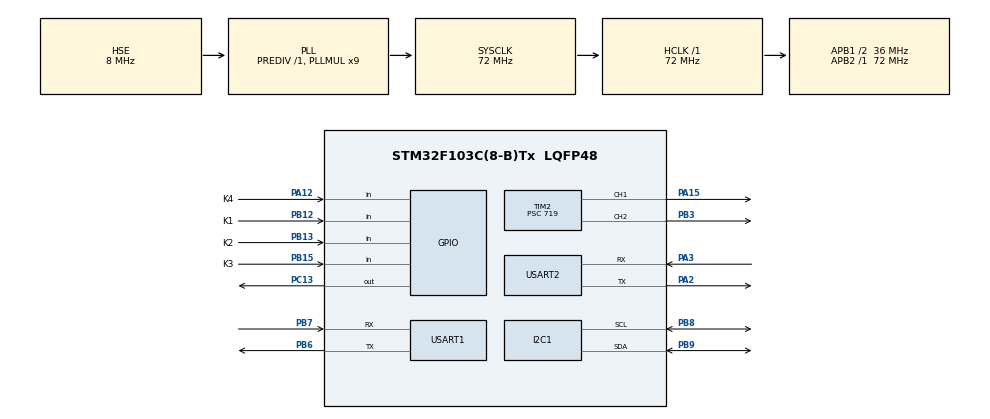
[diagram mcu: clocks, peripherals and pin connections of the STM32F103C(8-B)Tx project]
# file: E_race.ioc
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Dma.Request0=USART2_RX
Dma.Request1=USART2_TX
Dma.USART2_RX.0.Direction=DMA_PERIPH_TO_MEMORY
Dma.USART2_RX.0.Instance=DMA1_Channel6
Dma.USART2_RX.0.MemDataAlignment=DMA_MDATAALIGN_BYTE
Dma.USART2_RX.0.MemInc=DMA_MINC_ENABLE
Dma.USART2_RX.0.Mode=DMA_NORMAL
Dma.USART2_RX.0.PeriphDataAlignment=DMA_PDATAALIGN_BYTE
Dma.USART2_RX.0.PeriphInc=DMA_PINC_DISABLE
Dma.USART2_RX.0.Priority=DMA_PRIORITY_LOW
Dma.USART2_TX.1.Direction=DMA_MEMORY_TO_PERIPH
Dma.USART2_TX.1.Instance=DMA1_Channel7
Dma.USART2_TX.1.MemDataAlignment=DMA_MDATAALIGN_BYTE
Dma.USART2_TX.1.MemInc=DMA_MINC_ENABLE
Dma.USART2_TX.1.Mode=DMA_NORMAL
Dma.USART2_TX.1.PeriphDataAlignment=DMA_PDATAALIGN_BYTE
Dma.USART2_TX.1.PeriphInc=DMA_PINC_DISABLE
Dma.USART2_TX.1.Priority=DMA_PRIORITY_LOW
Mcu.Family=STM32F1
Mcu.Name=STM32F103C(8-B)Tx
Mcu.Package=LQFP48
NVIC.DMA1_Channel6_IRQn=true\:0\:0\:false\:false\:true\:false\:true\:true
NVIC.DMA1_Channel7_IRQn=true\:0\:0\:false\:false\:true\:false\:true\:true
NVIC.PriorityGroup=NVIC_PRIORITYGROUP_4
NVIC.TIM3_IRQn=true\:1\:0\:true\:false\:true\:true\:true\:true
NVIC.TIM4_IRQn=true\:0\:0\:true\:false\:true\:true\:true\:true
NVIC.USART1_IRQn=true\:0\:0\:false\:false\:true\:true\:true\:true
NVIC.USART2_IRQn=true\:0\:0\:false\:false\:true\:true\:true\:true
PA12.GPIO_Label=K4
PA12.GPIO_PuPd=GPIO_PULLUP
PA12.Signal=GPIO_Input
PA13.Mode=Serial_Wire
PA13.Signal=SYS_JTMS-SWDIO
PA14.Mode=Serial_Wire
PA14.Signal=SYS_JTCK-SWCLK
PA15.Signal=S_TIM2_CH1_ETR
PA2.Mode=Asynchronous
PA2.Signal=USART2_TX
PA3.Mode=Asynchronous
PA3.Signal=USART2_RX
PB12.GPIO_Label=K1
PB12.GPIO_PuPd=GPIO_PULLUP
PB12.Signal=GPIO_Input
PB13.GPIO_Label=K2
PB13.GPIO_PuPd=GPIO_PULLUP
PB13.Signal=GPIO_Input
PB15.GPIO_Label=K3
PB15.GPIO_PuPd=GPIO_PULLUP
PB15.Signal=GPIO_Input
PB3.Signal=S_TIM2_CH2
PB6.Mode=Asynchronous
PB6.Signal=USART1_TX
PB7.Mode=Asynchronous
PB7.Signal=USART1_RX
PB8.Mode=I2C
PB8.Signal=I2C1_SCL
PB9.Mode=I2C
PB9.Signal=I2C1_SDA
PC13-TAMPER-RTC.Signal=GPIO_Output
PD0-OSC_IN.Mode=HSE-External-Oscillator
PD0-OSC_IN.Signal=RCC_OSC_IN
PD1-OSC_OUT.Mode=HSE-External-Oscillator
PD1-OSC_OUT.Signal=RCC_OSC_OUT
ProjectManager.HeapSize=0x200
ProjectManager.StackSize=0x400
ProjectManager.TargetToolchain=MDK-ARM V5.27
RCC.AHBFreq_Value=72000000
RCC.APB1CLKDivider=RCC_HCLK_DIV2
RCC.APB1Freq_Value=36000000
RCC.APB1TimFreq_Value=72000000
RCC.APB2Freq_Value=72000000
RCC.APB2TimFreq_Value=72000000
RCC.HCLKFreq_Value=72000000
RCC.PLLMUL=RCC_PLL_MUL9
RCC.PLLSourceVirtual=RCC_PLLSOURCE_HSE
RCC.SYSCLKFreq_VALUE=72000000
RCC.SYSCLKSource=RCC_SYSCLKSOURCE_PLLCLK
RCC.USBFreq_Value=72000000
SH.S_TIM2_CH1_ETR.0=TIM2_CH1,PWM Generation1 CH1
SH.S_TIM2_CH2.0=TIM2_CH2,PWM Generation2 CH2
TIM2.AutoReloadPreload=TIM_AUTORELOAD_PRELOAD_ENABLE
TIM2.Channel-PWM\ Generation1\ CH1=TIM_CHANNEL_1
TIM2.Channel-PWM\ Generation2\ CH2=TIM_CHANNEL_2
TIM2.Period=1999
TIM2.Prescaler=719
TIM3.AutoReloadPreload=TIM_AUTORELOAD_PRELOAD_ENABLE
TIM3.Period=99
TIM3.Prescaler=7199
TIM4.AutoReloadPreload=TIM_AUTORELOAD_PRELOAD_ENABLE
TIM4.Period=99
TIM4.Prescaler=7199
USART1.VirtualMode=VM_ASYNC
USART2.VirtualMode=VM_ASYNC
VP_TIM2_VS_ClockSourceINT.Mode=Internal
VP_TIM3_VS_ClockSourceINT.Mode=Internal
VP_TIM4_VS_ClockSourceINT.Mode=Internal
board=custom

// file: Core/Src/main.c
/* USER CODE BEGIN Header */
/**
  ******************************************************************************
  * @file           : main.c
  * @brief          : Main program body
  ******************************************************************************
  * @attention
  *
  * Copyright (c) 2023 STMicroelectronics.
  * All rights reserved.
  *
  * This software is licensed under terms that can be found in the LICENSE file
  * in the root directory of this software component.
  * If no LICENSE file comes with this software, it is provided AS-IS.
  *
  ******************************************************************************
  */
/* USER CODE END Header */
#include "main.h"
#include "dma.h"
#include "i2c.h"
#include "tim.h"
#include "usart.h"
#include "gpio.h"

/* USER CODE BEGIN Includes */

#include "contorl.h"
/* USER CODE END Includes */

void SystemClock_Config(void);

int main(void)
{

  /* MCU Configuration--------------------------------------------------------*/

  /* Reset of all peripherals, Initializes the Flash interface and the Systick. */
  HAL_Init();

  /* Configure the system clock */
  SystemClock_Config();

  /* Initialize all configured peripherals */
  MX_GPIO_Init();
  MX_DMA_Init();
  MX_TIM2_Init();
  MX_TIM4_Init();
  MX_USART1_UART_Init();
  MX_USART2_UART_Init();
  MX_I2C1_Init();
  MX_TIM3_Init();
  /* USER CODE BEGIN 2 */
	Servo_Angle_Init();
	Servo_X_Angle_Set(0);
	Servo_Y_Angle_Set(0);  // 舵机复位初始化

	__HAL_UART_ENABLE_IT(&huart2, UART_IT_IDLE); //使能IDLE中断
  HAL_UART_Receive_DMA(&huart2,uart2_rx_buffer,BUFFER_SIZE);
	HAL_TIM_Base_Start_IT(&htim4);  // 开启基本定时器4
	HAL_TIM_Base_Start_IT(&htim3);  // 开启基本定时器3
//	HAL_UART_Receive_IT(&huart2,&rec,1);
	OLED_Init();

	PID_Init();    // PID初始化
	PARAM_Init();	 // 参数初始化

  /* USER CODE END 2 */

  /* Infinite loop */
  /* USER CODE BEGIN WHILE */
  while (1)
  {
		USART_data_processing();  // 串口接收处理函数
		OLED_Proc();
		VOFA_Proc();
		Key_Proc();

		if(Flag.Is_Mode_Set == 0) {       // 复位模式
			// [BUGFIX-5] 复位统一走 PID 闭环回中心:
			//   - 无论 OpenMV 是否识别到红点, 目标都是屏幕中心 (x_centry/y_centry);
			//   - 舵机角度由 10ms 定时器回调里的 Position_PID_RealizeX/Y(Flag.X_AXIS,
			//     Flag.x_actual) 闭环计算, 这里只设定目标, 不直接写死 Anglex/Angley;
			//   - 原逻辑 None==1 时直接 Anglex=0 会把舵机猛拉回机械零点而非屏幕原点, 已移除。
			Flag.x_actual = Flag.x_centry;
			Flag.y_actual = Flag.y_centry;
		}
		if(Flag.Is_Mode_Set == 1) {  // 走大框
			Motion_TarCtrl(RetangleX, RetangleY);
		}
		if(Flag.Is_Mode_Set == 2) {  // 走A4靶纸
			Motion_TarCtrl_Black(Black_Retanx, Black_Retany);
		}

    /* USER CODE END WHILE */

  }
}

void SystemClock_Config(void)
{
  RCC_OscInitTypeDef RCC_OscInitStruct = {0};
  RCC_ClkInitTypeDef RCC_ClkInitStruct = {0};

  /** Initializes the RCC Oscillators according to the specified parameters
  * in the RCC_OscInitTypeDef structure.
  */
  RCC_OscInitStruct.OscillatorType = RCC_OSCILLATORTYPE_HSE;
  RCC_OscInitStruct.HSEState = RCC_HSE_ON;
  RCC_OscInitStruct.HSEPredivValue = RCC_HSE_PREDIV_DIV1;
  RCC_OscInitStruct.HSIState = RCC_HSI_ON;
  RCC_OscInitStruct.PLL.PLLState = RCC_PLL_ON;
  RCC_OscInitStruct.PLL.PLLSource = RCC_PLLSOURCE_HSE;
  RCC_OscInitStruct.PLL.PLLMUL = RCC_PLL_MUL9;
  if (HAL_RCC_OscConfig(&RCC_OscInitStruct) != HAL_OK)
  {
    Error_Handler();
  }

  /** Initializes the CPU, AHB and APB buses clocks
  */
  RCC_ClkInitStruct.ClockType = RCC_CLOCKTYPE_HCLK|RCC_CLOCKTYPE_SYSCLK
                              |RCC_CLOCKTYPE_PCLK1|RCC_CLOCKTYPE_PCLK2;
  RCC_ClkInitStruct.SYSCLKSource = RCC_SYSCLKSOURCE_PLLCLK;
  RCC_ClkInitStruct.AHBCLKDivider = RCC_SYSCLK_DIV1;
  RCC_ClkInitStruct.APB1CLKDivider = RCC_HCLK_DIV2;
  RCC_ClkInitStruct.APB2CLKDivider = RCC_HCLK_DIV1;

  if (HAL_RCC_ClockConfig(&RCC_ClkInitStruct, FLASH_LATENCY_2) != HAL_OK)
  {
    Error_Handler();
  }
}

void Error_Handler(void)
{
  __disable_irq();
  while (1)
  {
  }
}
